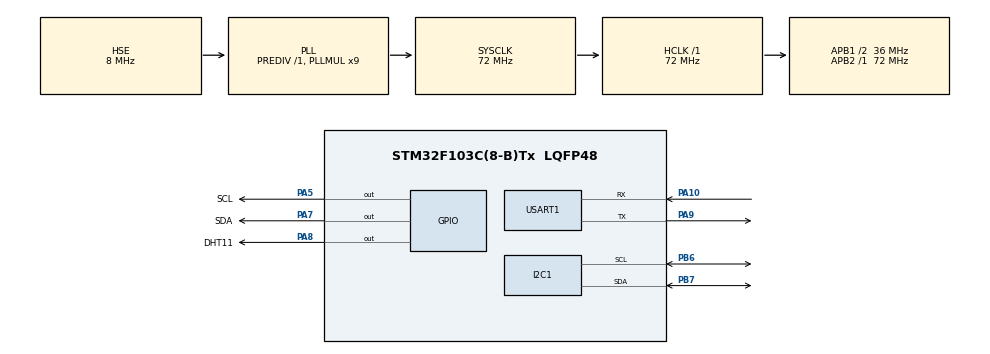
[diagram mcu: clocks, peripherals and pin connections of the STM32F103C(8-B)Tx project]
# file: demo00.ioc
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Mcu.Family=STM32F1
Mcu.Name=STM32F103C(8-B)Tx
Mcu.Package=LQFP48
NVIC.PriorityGroup=NVIC_PRIORITYGROUP_4
PA10.Mode=Asynchronous
PA10.Signal=USART1_RX
PA5.GPIO_Label=SCL
PA5.GPIO_ModeDefaultOutputPP=GPIO_MODE_OUTPUT_OD
PA5.GPIO_PuPd=GPIO_PULLUP
PA5.GPIO_Speed=GPIO_SPEED_FREQ_HIGH
PA5.PinState=GPIO_PIN_SET
PA5.Signal=GPIO_Output
PA7.GPIO_Label=SDA
PA7.GPIO_ModeDefaultOutputPP=GPIO_MODE_OUTPUT_OD
PA7.GPIO_PuPd=GPIO_PULLUP
PA7.GPIO_Speed=GPIO_SPEED_FREQ_HIGH
PA7.PinState=GPIO_PIN_SET
PA7.Signal=GPIO_Output
PA8.GPIO_Label=DHT11
PA8.Signal=GPIO_Output
PA9.Mode=Asynchronous
PA9.Signal=USART1_TX
PB6.Mode=I2C
PB6.Signal=I2C1_SCL
PB7.Mode=I2C
PB7.Signal=I2C1_SDA
PD0-OSC_IN.Mode=HSE-External-Oscillator
PD0-OSC_IN.Signal=RCC_OSC_IN
PD1-OSC_OUT.Mode=HSE-External-Oscillator
PD1-OSC_OUT.Signal=RCC_OSC_OUT
ProjectManager.HeapSize=0x200
ProjectManager.StackSize=0x400
ProjectManager.TargetToolchain=MDK-ARM V5
RCC.AHBFreq_Value=72000000
RCC.APB1CLKDivider=RCC_HCLK_DIV2
RCC.APB1Freq_Value=36000000
RCC.APB1TimFreq_Value=72000000
RCC.APB2Freq_Value=72000000
RCC.APB2TimFreq_Value=72000000
RCC.HCLKFreq_Value=72000000
RCC.PLLMUL=RCC_PLL_MUL9
RCC.PLLSourceVirtual=RCC_PLLSOURCE_HSE
RCC.SYSCLKFreq_VALUE=72000000
RCC.SYSCLKSource=RCC_SYSCLKSOURCE_PLLCLK
RCC.USBFreq_Value=72000000
TIM3.Prescaler=71
USART1.VirtualMode=VM_ASYNC
VP_SYS_VS_ND.Mode=No_Debug
VP_TIM3_VS_ClockSourceINT.Mode=Internal
board=custom

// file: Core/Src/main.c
/* USER CODE BEGIN Header */
/**
  ******************************************************************************
  * @file           : main.c
  * @brief          : Main program body
  ******************************************************************************
  * @attention
  *
  * Copyright (c) 2024 STMicroelectronics.
  * All rights reserved.
  *
  * This software is licensed under terms that can be found in the LICENSE file
  * in the root directory of this software component.
  * If no LICENSE file comes with this software, it is provided AS-IS.
  *
  ******************************************************************************
  */
/* USER CODE END Header */
#include "main.h"
#include "i2c.h"
#include "tim.h"
#include "usart.h"
#include "gpio.h"

/* USER CODE BEGIN Includes */
#include "OLED.h"
#include "stdio.h"
#include "BH1750.h"
// hello
/* USER CODE END Includes */

/* USER CODE BEGIN PD */
#define DHT11_HIGH     HAL_GPIO_WritePin(GPIOA, DHT11_Pin,	GPIO_PIN_SET)
#define DHT11_LOW      HAL_GPIO_WritePin(GPIOA, DHT11_Pin, GPIO_PIN_RESET)

#define DHT11_IO_IN      HAL_GPIO_ReadPin(GPIOA, DHT11_Pin)
/* USER CODE END PD */

void SystemClock_Config(void);
/* USER CODE BEGIN PFP */
void Delay_us(uint16_t delay);
void DHT11_OUT(void);
void DHT11_IN(void);
void DHT11_Strat(void);
uint8_t DHT11_Check(void);
uint8_t DHT11_Read_Bit(void);
uint8_t DHT11_Read_Byte(void);
uint8_t DHT11_Read_Data(uint8_t* temp , uint8_t* humi);
uint8_t num_len(uint32_t num){
    if(num==0)return 1;
    uint8_t i=0;
    while(num>0){
        num/=10;
        i++;
    }
    return i;
}

/* USER CODE END PFP */

int main(void)
{
  /* USER CODE BEGIN 1 */
    uint8_t temperature = 1 ;
	uint8_t humidity = 1;
  /* USER CODE END 1 */

  /* MCU Configuration--------------------------------------------------------*/

  /* Reset of all peripherals, Initializes the Flash interface and the Systick. */
  HAL_Init();

  /* Configure the system clock */
  SystemClock_Config();

  /* Initialize all configured peripherals */
  MX_GPIO_Init();
  MX_USART1_UART_Init();
  MX_TIM3_Init();
  MX_I2C1_Init();
  /* USER CODE BEGIN 2 */
  DHT11_Strat();
  OLED_Init();
  Init_BH1750();
  OLED_ShowCHinese(1,1,0);
  OLED_ShowCHinese(1,2,2);
  OLED_ShowCHinese(1,3,3);
  OLED_ShowCHinese(2,1,1);
  OLED_ShowCHinese(2,2,2);
  OLED_ShowCHinese(2,3,3);
  OLED_ShowCHinese(1,5,4);
  OLED_ShowChar(2,9,'%');
  OLED_ShowCHinese(3,1,5);
  OLED_ShowCHinese(3,2,6);
  OLED_ShowCHinese(3,3,3);
  /* USER CODE END 2 */

  /* Infinite loop */
  /* USER CODE BEGIN WHILE */
  while (1)
  {
      DHT11_Read_Data(&temperature,&humidity);
      Init_BH1750();
      OLED_ShowNum(1,6,(uint32_t)temperature,num_len(temperature));
      OLED_ShowNum(2,6,(uint32_t)humidity,num_len(humidity));
      HAL_Delay(500);
      uint32_t light = Value_GY30();
      OLED_ShowNum(3,6,light,num_len(light));

    /* USER CODE END WHILE */

  }
}

void SystemClock_Config(void)
{
  RCC_OscInitTypeDef RCC_OscInitStruct = {0};
  RCC_ClkInitTypeDef RCC_ClkInitStruct = {0};

  /** Initializes the RCC Oscillators according to the specified parameters
  * in the RCC_OscInitTypeDef structure.
  */
  RCC_OscInitStruct.OscillatorType = RCC_OSCILLATORTYPE_HSE;
  RCC_OscInitStruct.HSEState = RCC_HSE_ON;
  RCC_OscInitStruct.HSEPredivValue = RCC_HSE_PREDIV_DIV1;
  RCC_OscInitStruct.HSIState = RCC_HSI_ON;
  RCC_OscInitStruct.PLL.PLLState = RCC_PLL_ON;
  RCC_OscInitStruct.PLL.PLLSource = RCC_PLLSOURCE_HSE;
  RCC_OscInitStruct.PLL.PLLMUL = RCC_PLL_MUL9;
  if (HAL_RCC_OscConfig(&RCC_OscInitStruct) != HAL_OK)
  {
    Error_Handler();
  }

  /** Initializes the CPU, AHB and APB buses clocks
  */
  RCC_ClkInitStruct.ClockType = RCC_CLOCKTYPE_HCLK|RCC_CLOCKTYPE_SYSCLK
                              |RCC_CLOCKTYPE_PCLK1|RCC_CLOCKTYPE_PCLK2;
  RCC_ClkInitStruct.SYSCLKSource = RCC_SYSCLKSOURCE_PLLCLK;
  RCC_ClkInitStruct.AHBCLKDivider = RCC_SYSCLK_DIV1;
  RCC_ClkInitStruct.APB1CLKDivider = RCC_HCLK_DIV2;
  RCC_ClkInitStruct.APB2CLKDivider = RCC_HCLK_DIV1;

  if (HAL_RCC_ClockConfig(&RCC_ClkInitStruct, FLASH_LATENCY_2) != HAL_OK)
  {
    Error_Handler();
  }
}

/* USER CODE BEGIN 4 */
void Delay_us(uint16_t delay)
{
	__HAL_TIM_DISABLE(&htim3);
	__HAL_TIM_SET_COUNTER(&htim3,0);
	__HAL_TIM_ENABLE(&htim3);
	uint16_t curCnt=0;
	while(1)
	{
		curCnt=__HAL_TIM_GET_COUNTER(&htim3);
		if(curCnt>=delay)
			break;
	}
	__HAL_TIM_DISABLE(&htim3);
}

void DHT11_OUT(void)
{
	GPIO_InitTypeDef  GPIO_InitStruct = {0};

	GPIO_InitStruct.Pin = GPIO_PIN_8;
	GPIO_InitStruct.Mode = GPIO_MODE_OUTPUT_PP;
	GPIO_InitStruct.Pull = GPIO_PULLUP;
	GPIO_InitStruct.Speed = GPIO_SPEED_FREQ_HIGH;
	HAL_GPIO_Init(GPIOA, &GPIO_InitStruct);
}

void DHT11_IN(void)
{
	GPIO_InitTypeDef  GPIO_InitStruct = {0};

	GPIO_InitStruct.Pin  = GPIO_PIN_8;
	GPIO_InitStruct.Mode = GPIO_MODE_INPUT;
	GPIO_InitStruct.Pull = GPIO_NOPULL;
	GPIO_InitStruct.Speed = GPIO_SPEED_FREQ_HIGH;
	HAL_GPIO_Init(GPIOA, &GPIO_InitStruct);
}

void DHT11_Strat(void)
{
	DHT11_OUT();
	DHT11_LOW;
	HAL_Delay(20);
	DHT11_HIGH;
	Delay_us(30);
}

uint8_t DHT11_Check(void)
{
	uint8_t retry = 0 ;
	DHT11_IN();

	while(DHT11_IO_IN && retry <100)
	{
		retry++;
		Delay_us(1);//1us
	}
	if(retry>=100)
	{return  1;}
	 else retry =  0 ;

	while(!DHT11_IO_IN && retry<100)
	{
		retry++;
		Delay_us(1);//1us
	}

	if(retry>=100)
	{return 1;}
	return 0 ;
}

uint8_t DHT11_Read_Bit(void)
{
	uint8_t retry = 0 ;
	while(DHT11_IO_IN && retry <100)
	{
		retry++;
		Delay_us(1);
	}
		retry = 0 ;
	while(!DHT11_IO_IN && retry<100)
	{
		retry++;
		Delay_us(1);
	}
	Delay_us(40);
	if(DHT11_IO_IN) return 1;
	else
	return 0 ;
}

uint8_t DHT11_Read_Byte(void)
{
	uint8_t i , dat ;
	dat = 0 ;
	for(i=0; i<8; i++)
	{
		dat <<= 1;
		dat |= DHT11_Read_Bit();
	}
	return dat ;
}

uint8_t DHT11_Read_Data(uint8_t* temp , uint8_t* humi)
{
	uint8_t buf[5];
	uint8_t i;
	DHT11_Strat();
    if(DHT11_Check() == 0)
	{
		for(i=0; i<5; i++)
		{
			buf[i] = DHT11_Read_Byte();
		}
		if(buf[0]+buf[1]+buf[2]+buf[3] == buf[4])
		{
			*humi = buf[0];
			*temp = buf[2];
		}
	}else return 1;
    return 0;
}
/* USER CODE END 4 */

void Error_Handler(void)
{
  __disable_irq();
  while (1)
  {
  }
}
